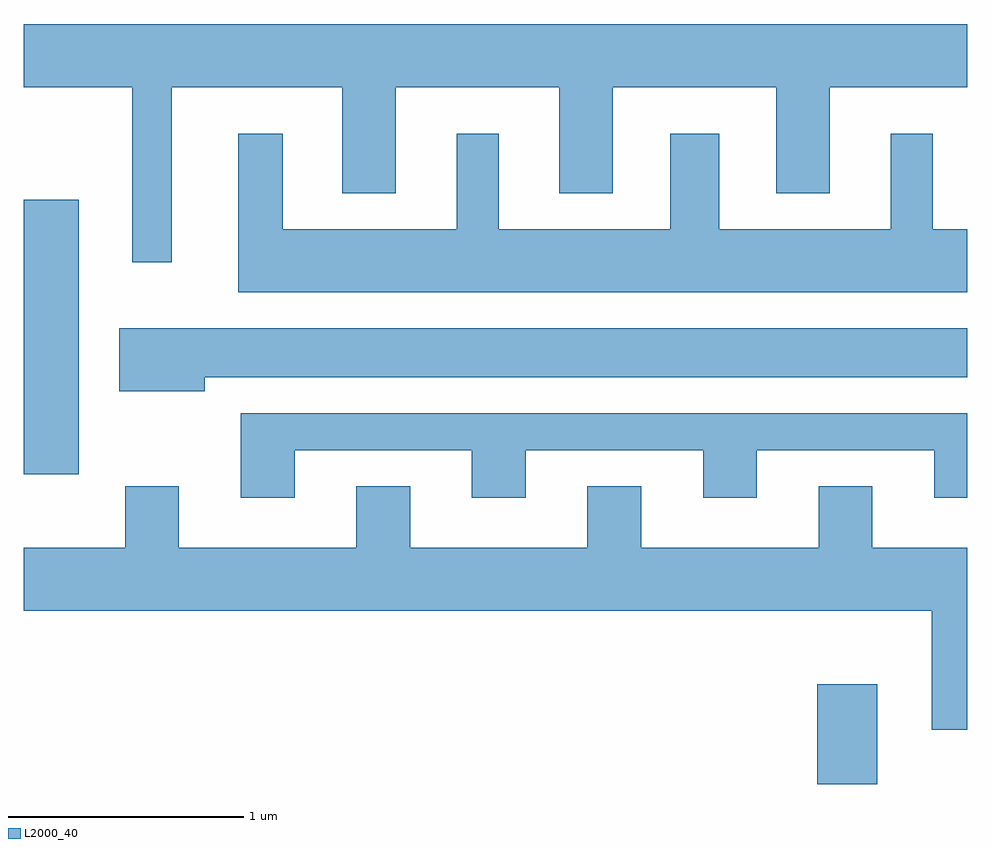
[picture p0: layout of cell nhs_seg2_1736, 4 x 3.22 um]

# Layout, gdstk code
import gdstk
lib = gdstk.Library(unit=1e-6, precision=1e-09)
def R(c, l, rs):  # rectangles x0, y0, x1, y1
    for r in rs: c.add(gdstk.rectangle(r[:2], r[2:], *l))
def P(c, l, *ps):  # polygons
    for p in ps: c.add(gdstk.Polygon(p, *l))
L2000_40 = (2000, 40)

nhs_seg2_1736 = lib.new_cell('nhs_seg2_1736')
R(nhs_seg2_1736, L2000_40, [(238.976,1049.802,239.229,1050.224), (235.611,1051.116,235.844,1052.279)])
P(nhs_seg2_1736, L2000_40, [(236.239,1052.756),(236.961,1052.756),(236.961,1052.306),(237.189,1052.306),(237.189,1052.756),(237.881,1052.756),(237.881,1052.306),(238.109,1052.306),(238.109,1052.756),(238.801,1052.756),(238.801,1052.306),(239.029,1052.306),(239.029,1052.756),(239.611,1052.756),(239.611,1053.024),(235.611,1053.024),(235.611,1052.756),(236.071,1052.756),(236.071,1052.013),(236.239,1052.013)],
  [(239.611,1052.154),(239.464,1052.154),(239.464,1052.559),(239.286,1052.559),(239.286,1052.154),(238.559,1052.154),(238.559,1052.559),(238.351,1052.559),(238.351,1052.154),(237.624,1052.154),(237.624,1052.559),(237.446,1052.559),(237.446,1052.154),(236.709,1052.154),(236.709,1052.559),(236.521,1052.559),(236.521,1051.886),(239.611,1051.886)],
  [(236.379,1051.526),(239.611,1051.526),(239.611,1051.734),(236.016,1051.734),(236.016,1051.466),(236.379,1051.466)],
  [(236.759,1051.216),(237.511,1051.216),(237.511,1051.016),(237.739,1051.016),(237.739,1051.216),(238.491,1051.216),(238.491,1051.016),(238.719,1051.016),(238.719,1051.216),(239.471,1051.216),(239.471,1051.016),(239.611,1051.016),(239.611,1051.374),(236.531,1051.374),(236.531,1051.016),(236.759,1051.016)],
  [(239.611,1050.804),(239.209,1050.804),(239.209,1051.064),(238.981,1051.064),(238.981,1050.804),(238.229,1050.804),(238.229,1051.064),(238.001,1051.064),(238.001,1050.804),(237.249,1050.804),(237.249,1051.064),(237.021,1051.064),(237.021,1050.804),(236.269,1050.804),(236.269,1051.064),(236.041,1051.064),(236.041,1050.804),(235.611,1050.804),(235.611,1050.536),(239.461,1050.536),(239.461,1050.031),(239.611,1050.031)])

lib.write_gds('nhs_seg2_1736.gds')
